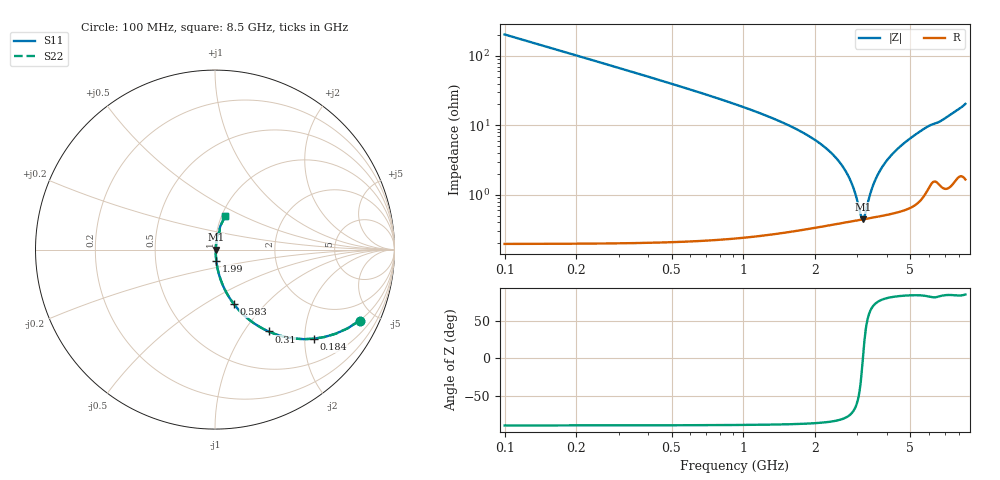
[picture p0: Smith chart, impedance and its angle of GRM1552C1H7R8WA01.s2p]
!Murata Part Number: GRM1552C1H7R8WA01
!These Parameters are Measured in Series Mode Connection
!Data Generated on Mar 30, 2021
!  o--ll--o
!Port1  Port2
!  o------o
!Operation Temp=25[degC], DC Bias Voltage=0[V]
!Freq. Start=100[MHz] Stop=9[GHz] 401[Steps]
# Hz S RI R 50
!Freq.(Hz) S11(Real) S11(Imag) S21(Real) S21(Imag) S12(Real) S12(Imag) S22(Real) S22(Imag)
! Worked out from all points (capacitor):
!   401 points, 100 MHz to 8.5 GHz, reference 50 ohm
!   read as one part in series: C = 7.8 pF near 142 MHz
!   lowest |Z| = 444 mohm at 3.166 GHz (marker M1)
!   series resonance near 3.164 GHz, so ESL is about 320 pH
!   S11 on the Smith chart (normalised r, x): 100 MHz: 1.00, -4.08; 184 MHz: 1.00, -2.21; 310 MHz: 1.00, -1.30; 583 MHz: 1.00, -0.68; 1.99 GHz: 1.01, -0.12; 8.5 GHz: 1.03, +0.41
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1e8  0.8058 -0.3951  0.1942 0.3951  0.1942 0.3951  0.8058 -0.3951
1.84e8  0.5497 -0.4966  0.4503 0.4966  0.4503 0.4966  0.5497 -0.4966
3.1e8  0.2987 -0.4562  0.7013 0.4562  0.7013 0.4562  0.2987 -0.4562
4.36e8  0.1751 -0.3778  0.8249 0.3778  0.8249 0.3778  0.1751 -0.3778
5.83e8  0.104 -0.3022  0.896 0.3022  0.896 0.3022  0.104 -0.3022
9.61e8  0.0379 -0.1848  0.9621 0.1848  0.9621 0.1848  0.0379 -0.1848
1.507e9  0.0136 -0.1028  0.9864 0.1028  0.9864 0.1028  0.0136 -0.1028
1.99e9  0.00712 -0.0613  0.9929 0.0613  0.9929 0.0613  0.00712 -0.0613
2.557e9  0.00464 -0.0275  0.9954 0.0275  0.9954 0.0275  0.00464 -0.0275
2.746e9  0.00438 -0.0183  0.9956 0.0183  0.9956 0.0183  0.00438 -0.0183
2.914e9  0.00431 -0.0106  0.9957 0.0106  0.9957 0.0106  0.00431 -0.0106
3.103e9  0.00437 -0.0025  0.9956 0.0025  0.9956 0.0025  0.00437 -0.0025
3.166e9  0.00441 9.15e-05  0.9956 -9.15e-05  0.9956 -9.15e-05  0.00441 9.15e-05
3.229e9  0.00448 0.00264  0.9955 -0.00264  0.9955 -0.00264  0.00448 0.00264
3.439e9  0.00476 0.0108  0.9952 -0.0108  0.9952 -0.0108  0.00476 0.0108
3.628e9  0.00513 0.0178  0.9949 -0.0178  0.9949 -0.0178  0.00513 0.0178
3.922e9  0.00587 0.0283  0.9941 -0.0283  0.9941 -0.0283  0.00587 0.0283
4.3e9  0.00713 0.0411  0.9929 -0.0411  0.9929 -0.0411  0.00713 0.0411
4.909e9  0.01 0.0609  0.99 -0.0609  0.99 -0.0609  0.01 0.0609
5.707e9  0.0172 0.0866  0.9828 -0.0866  0.9828 -0.0866  0.0172 0.0866
7.114e9  0.0285 0.1262  0.9715 -0.1262  0.9715 -0.1262  0.0285 0.1262
8.5e9  0.0544 0.1896  0.9456 -0.1896  0.9456 -0.1896  0.0544 0.1896
